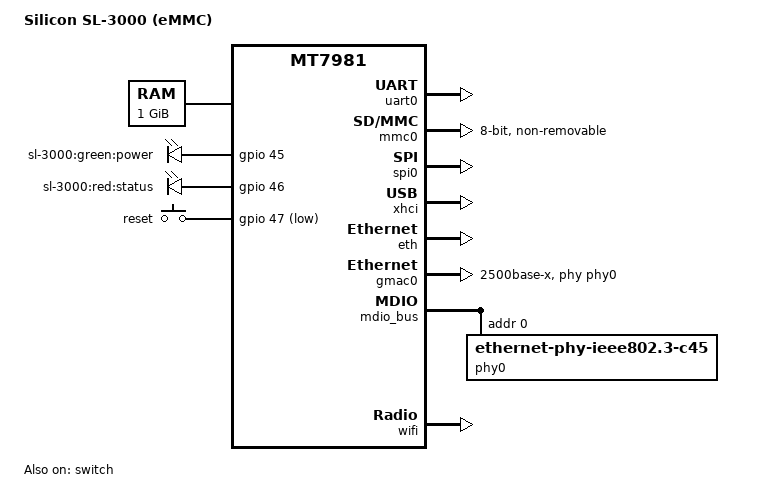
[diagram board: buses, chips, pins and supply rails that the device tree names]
// SPDX-License-Identifier: GPL-2.0-or-later OR MIT
/dts-v1/;

#include "mt7981.dtsi"
#include "mt7981a-emmc-rfb.dtsi"

/ {
    compatible = "silicon,sl-3000", "mediatek,mt7981";
    model = "Silicon SL-3000 (eMMC)";

    aliases {
        led-boot = &led_power;
        led-failsafe = &led_status;
        led-running = &led_power;
        led-upgrade = &led_status;
        label-mac-device = &gmac0;
    };

    chosen {
        bootargs = "console=ttyS0,115200n8";
    };

    memory@40000000 {
        device_type = "memory";
        reg = <0x40000000 0x40000000>; // 1GB RAM
    };

    leds {
        compatible = "gpio-leds";

        led_power: power {
            label = "sl-3000:green:power";
            gpios = <&gpio 45 GPIO_ACTIVE_HIGH>;
            default-state = "on";
        };

        led_status: status {
            label = "sl-3000:red:status";
            gpios = <&gpio 46 GPIO_ACTIVE_HIGH>;
            default-state = "off";
        };
    };

    keys {
        compatible = "gpio-keys";

        reset {
            label = "reset";
            gpios = <&gpio 47 GPIO_ACTIVE_LOW>;
            linux,code = <KEY_RESTART>;
            debounce-interval = <60>;
        };
    };
};

&uart0 {
    status = "okay";
};

&mmc0 {
    status = "okay"; // eMMC
    bus-width = <8>;
    cap-mmc-highspeed;
    mmc-hs200-1_8v;
    non-removable;
};

&spi0 {
    status = "okay"; // SPI-NOR
};

&xhci {
    status = "okay"; // USB 3.0
};

&eth {
    status = "okay";
    mediatek,eth-wan = "lan4";
};

&gmac0 {
    status = "okay";
    phy-mode = "2500base-x";
    phy-handle = <&phy0>;
};

&mdio_bus {
    phy0: ethernet-phy@0 {
        reg = <0>;
        compatible = "ethernet-phy-ieee802.3-c45";
    };
};

&switch {
    status = "okay";
    mediatek,portmap = "llllw"; // LAN1–LAN4 + WAN
};

&wifi {
    status = "okay";
};
